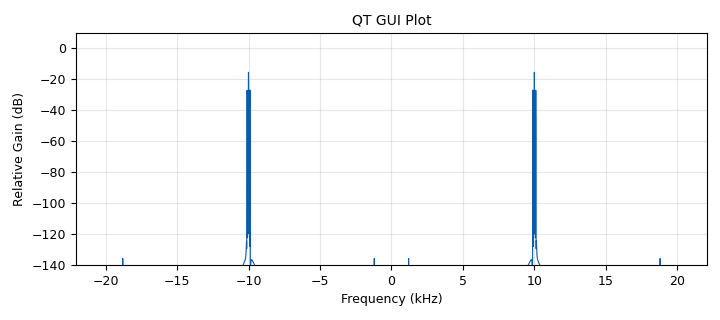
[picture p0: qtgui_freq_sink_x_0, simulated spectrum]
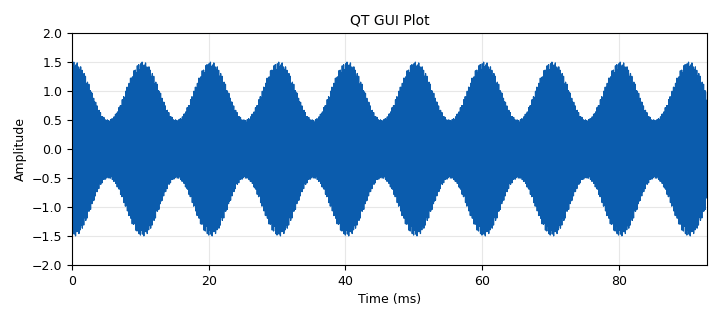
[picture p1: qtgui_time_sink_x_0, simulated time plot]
options:
  parameters:
    generate_options: qt_gui
    generator_class_name: PythonQtGuiGenerator
    generator_module: gnuradio.grc.workflows.python_qt_gui
    id: top_block
    output_language: python
  states: {}

blocks:
- name: carrier
  id: variable_qtgui_range
  parameters:
    label: carrier frequency
    start: '5000'
    step: '1'
    stop: '20000'
    value: '10000'
  states: {}
- name: m
  id: variable_qtgui_range
  parameters:
    label: modulating amplitude
    start: '0'
    step: '.01'
    stop: '1'
    value: '.5'
  states: {}
- name: modulating_freq
  id: variable_qtgui_range
  parameters:
    label: modulating frequency
    start: '1'
    step: '1'
    stop: '1000'
    value: '100'
  states: {}
- name: samp_rate
  id: variable
  parameters:
    value: '44100'
  states: {}
- name: analog_sig_source_x_0
  id: analog_sig_source_x
  parameters:
    amp: '1'
    freq: carrier
    offset: '0'
    phase: '0'
    samp_rate: samp_rate
    type: float
    waveform: analog.GR_SIN_WAVE
  states: {}
- name: analog_sig_source_x_0_0_0
  id: analog_sig_source_x
  parameters:
    amp: m
    freq: modulating_freq
    offset: '0'
    phase: '0'
    samp_rate: samp_rate
    type: float
    waveform: analog.GR_SIN_WAVE
  states: {}
- name: blocks_add_xx_0
  id: blocks_add_xx
  parameters:
    type: float
  states: {}
- name: blocks_multiply_xx_0
  id: blocks_multiply_xx
  parameters:
    type: float
  states: {}
- name: blocks_null_source_0
  id: blocks_null_source
  parameters:
    type: float
  states: {state: disabled}
- name: blocks_throttle_0
  id: blocks_throttle
  parameters:
    samples_per_second: samp_rate
    type: float
  states: {}
- name: qtgui_freq_sink_x_0
  id: qtgui_freq_sink_x
  parameters:
    bw: 'samp_rate '
    fc: '0'
    fftsize: 1024 * 8
    name: QT GUI Plot
    showports: 'True'
    type: float
  states: {}
- name: qtgui_time_sink_x_0
  id: qtgui_time_sink_x
  parameters:
    label1: ''
    name: QT GUI Plot
    size: 1024 * 4
    srate: samp_rate
    tr_level: '0.95'
    tr_mode: qtgui.TRIG_MODE_AUTO
    type: float
    ymax: '2'
    ymin: '-2'
  states: {}

connections:
- [analog_sig_source_x_0, '0', blocks_add_xx_0, '1']
- [analog_sig_source_x_0, '0', blocks_multiply_xx_0, '1']
- [analog_sig_source_x_0_0_0, '0', blocks_multiply_xx_0, '0']
- [blocks_add_xx_0, '0', blocks_throttle_0, '0']
- [blocks_multiply_xx_0, '0', blocks_add_xx_0, '0']
- [blocks_null_source_0, '0', blocks_add_xx_0, '1']
- [blocks_null_source_0, '0', blocks_multiply_xx_0, '1']
- [blocks_throttle_0, '0', qtgui_freq_sink_x_0, '0']
- [blocks_throttle_0, '0', qtgui_time_sink_x_0, '0']

metadata:
  file_format: 1
  grc_version: v3.11.0.0git-991-g721e477c
